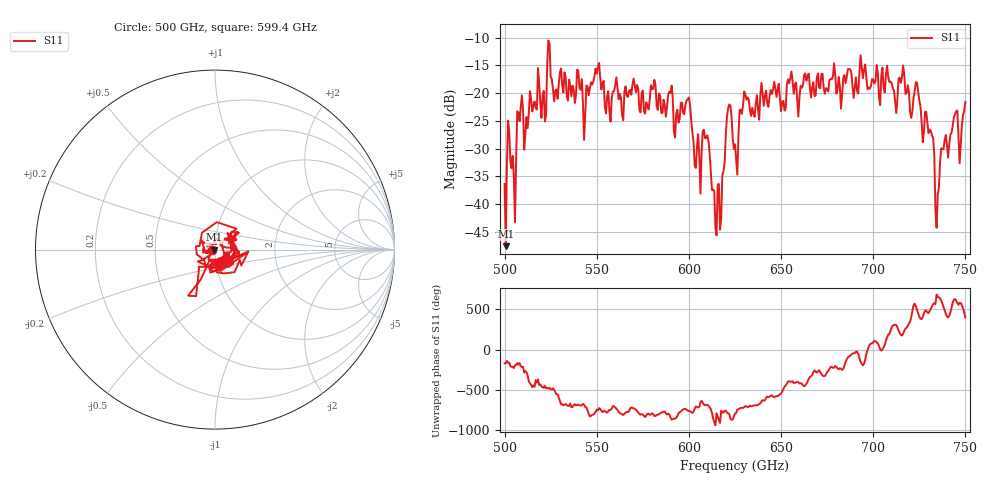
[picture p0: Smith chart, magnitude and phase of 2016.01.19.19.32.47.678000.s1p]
!Created with skrf (http://scikit-rf.org).
# GHz S RI R 50.0
!freq ReS11 ImS11
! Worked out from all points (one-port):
!   401 points, 500 GHz to 750 GHz, reference 50 ohm
!   lowest |S11| = -47.6 dB at 500.6 GHz (marker M1), VSWR 1.01, Z = 49.6 - j0.102 ohm
!   |S11| at or under -10 dB: start of sweep to end of sweep
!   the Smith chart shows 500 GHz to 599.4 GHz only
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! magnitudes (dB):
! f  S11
! 500 GHz  -36.4
! 500.6 GHz  -47.6
! 503.1 GHz  -32.3
! 505 GHz  -34.8
! 508.1 GHz  -25.1
! 521.2 GHz  -19.6
! 524.4 GHz  -11.1
! 527.5 GHz  -19.6
! 531.2 GHz  -18.7
! 562.5 GHz  -20.1
! 580.6 GHz  -19.2
! 593.8 GHz  -23.0
! 599.4 GHz  -21.1
! 605 GHz  -27.4
! 609.4 GHz  -28.1
! 615.6 GHz  -36.5
! 618.1 GHz  -34.8
! 621.2 GHz  -22.8
! 625 GHz  -29.2
! 630.6 GHz  -20.2
! 656.2 GHz  -17.9
! 687.5 GHz  -15.8
! 718.8 GHz  -18.6
! 730 GHz  -27.2
! 735 GHz  -38.3
! 738.1 GHz  -30.1
! 747.5 GHz  -29.0
! 750 GHz  -21.6
